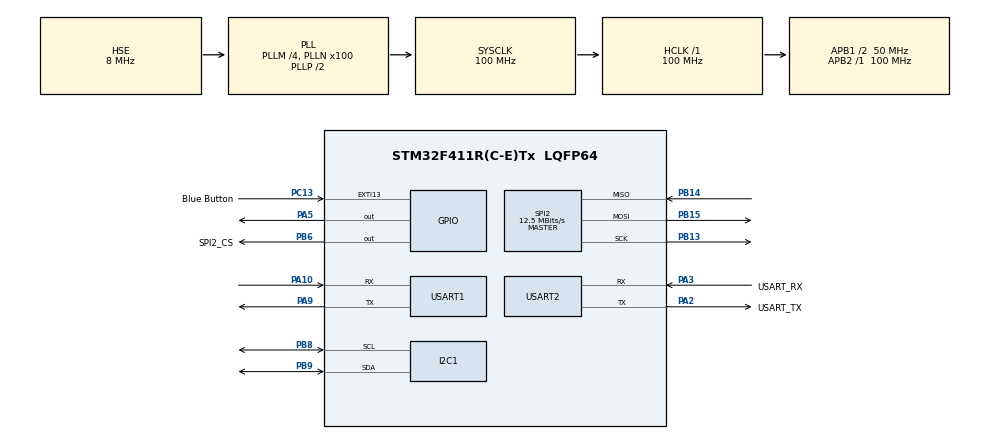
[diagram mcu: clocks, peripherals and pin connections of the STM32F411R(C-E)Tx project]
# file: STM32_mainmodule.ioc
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Dma.Request0=USART2_RX
Dma.Request1=USART2_TX
Dma.Request2=USART1_RX
Dma.Request3=USART1_TX
Dma.USART1_RX.2.Direction=DMA_PERIPH_TO_MEMORY
Dma.USART1_RX.2.FIFOMode=DMA_FIFOMODE_DISABLE
Dma.USART1_RX.2.Instance=DMA2_Stream2
Dma.USART1_RX.2.MemDataAlignment=DMA_MDATAALIGN_BYTE
Dma.USART1_RX.2.MemInc=DMA_MINC_ENABLE
Dma.USART1_RX.2.Mode=DMA_NORMAL
Dma.USART1_RX.2.PeriphDataAlignment=DMA_PDATAALIGN_BYTE
Dma.USART1_RX.2.PeriphInc=DMA_PINC_DISABLE
Dma.USART1_RX.2.Priority=DMA_PRIORITY_MEDIUM
Dma.USART1_TX.3.Direction=DMA_MEMORY_TO_PERIPH
Dma.USART1_TX.3.FIFOMode=DMA_FIFOMODE_DISABLE
Dma.USART1_TX.3.Instance=DMA2_Stream7
Dma.USART1_TX.3.MemDataAlignment=DMA_MDATAALIGN_BYTE
Dma.USART1_TX.3.MemInc=DMA_MINC_ENABLE
Dma.USART1_TX.3.Mode=DMA_NORMAL
Dma.USART1_TX.3.PeriphDataAlignment=DMA_PDATAALIGN_BYTE
Dma.USART1_TX.3.PeriphInc=DMA_PINC_DISABLE
Dma.USART1_TX.3.Priority=DMA_PRIORITY_MEDIUM
Dma.USART2_RX.0.Direction=DMA_PERIPH_TO_MEMORY
Dma.USART2_RX.0.FIFOMode=DMA_FIFOMODE_DISABLE
Dma.USART2_RX.0.Instance=DMA1_Stream5
Dma.USART2_RX.0.MemDataAlignment=DMA_MDATAALIGN_BYTE
Dma.USART2_RX.0.MemInc=DMA_MINC_ENABLE
Dma.USART2_RX.0.Mode=DMA_NORMAL
Dma.USART2_RX.0.PeriphDataAlignment=DMA_PDATAALIGN_BYTE
Dma.USART2_RX.0.PeriphInc=DMA_PINC_DISABLE
Dma.USART2_RX.0.Priority=DMA_PRIORITY_MEDIUM
Dma.USART2_TX.1.Direction=DMA_MEMORY_TO_PERIPH
Dma.USART2_TX.1.FIFOMode=DMA_FIFOMODE_DISABLE
Dma.USART2_TX.1.Instance=DMA1_Stream6
Dma.USART2_TX.1.MemDataAlignment=DMA_MDATAALIGN_BYTE
Dma.USART2_TX.1.MemInc=DMA_MINC_ENABLE
Dma.USART2_TX.1.Mode=DMA_NORMAL
Dma.USART2_TX.1.PeriphDataAlignment=DMA_PDATAALIGN_BYTE
Dma.USART2_TX.1.PeriphInc=DMA_PINC_DISABLE
Dma.USART2_TX.1.Priority=DMA_PRIORITY_MEDIUM
FATFS._FS_TINY=1
FATFS._MAX_SS=4096
FATFS._USE_LFN=1
Mcu.Family=STM32F4
Mcu.Name=STM32F411R(C-E)Tx
Mcu.Package=LQFP64
NVIC.DMA1_Stream5_IRQn=true\:0\:0\:false\:false\:true\:false\:true\:true
NVIC.DMA1_Stream6_IRQn=true\:0\:0\:false\:false\:true\:false\:true\:true
NVIC.DMA2_Stream2_IRQn=true\:0\:0\:false\:false\:true\:false\:true\:true
NVIC.DMA2_Stream7_IRQn=true\:0\:0\:false\:false\:true\:false\:true\:true
NVIC.EXTI15_10_IRQn=true\:0\:0\:false\:false\:true\:true\:true\:true
NVIC.PriorityGroup=NVIC_PRIORITYGROUP_0
NVIC.USART1_IRQn=true\:0\:0\:false\:false\:true\:true\:true\:true
NVIC.USART2_IRQn=true\:0\:0\:false\:false\:true\:true\:true\:true
PA10.Mode=Asynchronous
PA10.Signal=USART1_RX
PA13.GPIO_Label=TMS
PA13.Mode=Serial_Wire
PA13.Signal=SYS_JTMS-SWDIO
PA14.GPIO_Label=TCK
PA14.Mode=Serial_Wire
PA14.Signal=SYS_JTCK-SWCLK
PA2.GPIO_Label=USART_TX
PA2.Mode=Asynchronous
PA2.Signal=USART2_TX
PA3.GPIO_Label=USART_RX
PA3.Mode=Asynchronous
PA3.Signal=USART2_RX
PA5.Signal=GPIO_Output
PA9.Mode=Asynchronous
PA9.Signal=USART1_TX
PB13.GPIO_PuPd=GPIO_PULLUP
PB13.Mode=Full_Duplex_Master
PB13.Signal=SPI2_SCK
PB14.GPIO_PuPd=GPIO_PULLUP
PB14.Mode=Full_Duplex_Master
PB14.Signal=SPI2_MISO
PB15.GPIO_PuPd=GPIO_PULLUP
PB15.Mode=Full_Duplex_Master
PB15.Signal=SPI2_MOSI
PB3.GPIO_Label=SWO
PB3.Signal=SYS_JTDO-SWO
PB6.GPIO_Label=SPI2_CS
PB6.GPIO_PuPd=GPIO_PULLUP
PB6.GPIO_Speed=GPIO_SPEED_FREQ_HIGH
PB6.PinState=GPIO_PIN_SET
PB6.Signal=GPIO_Output
PB8.Mode=I2C
PB8.Signal=I2C1_SCL
PB9.Mode=I2C
PB9.Signal=I2C1_SDA
PC13-ANTI_TAMP.GPIO_Label=Blue Button
PC13-ANTI_TAMP.GPIO_ModeDefaultEXTI=GPIO_MODE_IT_FALLING
PC13-ANTI_TAMP.Signal=GPXTI13
PC14-OSC32_IN.Mode=LSE-External-Oscillator
PC14-OSC32_IN.Signal=RCC_OSC32_IN
PC15-OSC32_OUT.Mode=LSE-External-Oscillator
PC15-OSC32_OUT.Signal=RCC_OSC32_OUT
PH0\ -\ OSC_IN.Mode=HSE-External-Oscillator
PH0\ -\ OSC_IN.Signal=RCC_OSC_IN
PH1\ -\ OSC_OUT.Mode=HSE-External-Oscillator
PH1\ -\ OSC_OUT.Signal=RCC_OSC_OUT
ProjectManager.HeapSize=0x200
ProjectManager.StackSize=0x400
ProjectManager.TargetToolchain=STM32CubeIDE
RCC.48MHZClocksFreq_Value=50000000
RCC.AHBFreq_Value=100000000
RCC.APB1CLKDivider=RCC_HCLK_DIV2
RCC.APB1Freq_Value=50000000
RCC.APB1TimFreq_Value=100000000
RCC.APB2Freq_Value=100000000
RCC.APB2TimFreq_Value=100000000
RCC.CortexFreq_Value=100000000
RCC.FLatency-AdvancedSettings=FLASH_LATENCY_3
RCC.HCLKFreq_Value=100000000
RCC.HSE_VALUE=8000000
RCC.HSI_VALUE=16000000
RCC.PLLM=4
RCC.PLLN=100
RCC.PLLSourceVirtual=RCC_PLLSOURCE_HSE
RCC.RCC_RTC_Clock_Source=RCC_RTCCLKSOURCE_LSE
RCC.RCC_RTC_Clock_SourceVirtual=RCC_RTCCLKSOURCE_LSE
RCC.SYSCLKFreq_VALUE=100000000
RCC.SYSCLKSource=RCC_SYSCLKSOURCE_PLLCLK
RCC.VCOOutputFreq_Value=200000000
RTC.Date=10
RTC.Month=RTC_MONTH_JULY
RTC.WeekDay=RTC_WEEKDAY_FRIDAY
RTC.Year=26
SPI2.BaudRatePrescaler=SPI_BAUDRATEPRESCALER_4
SPI2.CalculateBaudRate=12.5 MBits/s
SPI2.Direction=SPI_DIRECTION_2LINES
SPI2.Mode=SPI_MODE_MASTER
SPI2.VirtualType=VM_MASTER
USART1.VirtualMode=VM_ASYNC
USART2.VirtualMode=VM_ASYNC
VP_FATFS_VS_Generic.Mode=User_defined
VP_RTC_VS_RTC_Activate.Mode=RTC_Enabled
VP_RTC_VS_RTC_Calendar.Mode=RTC_Calendar
board=NUCLEO-F411RE

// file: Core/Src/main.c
/* USER CODE BEGIN Header */
/**
  ******************************************************************************
  * @file           : main.c
  * @brief          : Main program body
  ******************************************************************************
  * @attention
  *
  * Copyright (c) 2026 STMicroelectronics.
  * All rights reserved.
  *
  * This software is licensed under terms that can be found in the LICENSE file
  * in the root directory of this software component.
  * If no LICENSE file comes with this software, it is provided AS-IS.
  *
  ******************************************************************************
  */
/* USER CODE END Header */
#include "main.h"
#include "dma.h"
#include "fatfs.h"
#include "i2c.h"
#include "rtc.h"
#include "spi.h"
#include "usart.h"
#include "gpio.h"

/* USER CODE BEGIN Includes */
#include <stdbool.h>
#include "stdio.h"
#include "string.h"
#include "LED.h"
#include "UARTCom.h"
#include "OLED.h"
#include "MPU6050.h"
#include "BME280.h"
#include "SDCard.h"
#include "util.h"
/* USER CODE END Includes */

/* USER CODE BEGIN PD */
#define MAXLEN 4096
#define MAXTEMPLEN 256
/* USER CODE END PD */

/* USER CODE BEGIN PV */
//SPI_HandleTypeDef hspi2;

uint8_t count = 0;
extern uint16_t timer;
extern int enable_timer;
extern uint16_t timer_ESP32;
extern int enable_timer_ESP32;

BME280_Data_t BME280;
MPU6050_Data_t MPU6050;
int start_y = 20;
int end_y = 0;
static char line_buffer[512];
static uint16_t line_idx = 0;
static uint32_t last_button_tick = 0;

typedef enum {
    STATE_STOPPED,
    STATE_START_REQUESTED,
    STATE_RUNNING,
    STATE_STOP_REQUESTED
} SystemState;

volatile SystemState state = STATE_STOPPED;

/* USER CODE END PV */

void SystemClock_Config(void);
/* USER CODE BEGIN PFP */
void I2C_ClearBus(void);
/* USER CODE END PFP */

/* USER CODE BEGIN 0 */
void logging(char *msg) {
  FILE *fptr;
  fptr = fopen("D:\\error_log.txt", "a+");
  if (fptr == NULL) {
    my_printf("ERROR: Could not open file.\n");
    return;
  }

  fprintf(fptr, "ERROR %s\n", msg);
  fclose(fptr);

}

int _write(int file, char *ptr, int len) {
	if (ptr == NULL || len <= 0) {
		return 0;
	}
	if (file != 1 && file != 2)
		return len;

	int i=0;
	for (i = 0; i < len; i++) {
		ITM_SendChar((*ptr++));
	}
	return len;
}

void I2C_Scanner(void) {
    HAL_StatusTypeDef result;
    uint8_t devices_found = 0;
    char temp_buffer[512];

    my_printf("\r\n--- Starting I2C Bus Scan ---\r\n");

    for (uint16_t i = 1; i < 128; i++) {
        /* * HAL_I2C_IsDeviceReady expects the left-shifted 8-bit address.
         * It tries to communicate with the device 3 times with a 5ms timeout.
         */
        result = HAL_I2C_IsDeviceReady(&hi2c1, (i << 1), 3, 5);

        if (result == HAL_OK) {
            sprintf(temp_buffer, "Device found at 7-bit address: 0x%02X (8-bit Addr: 0x%02X)\r\n", i, (i << 1));
            my_printf(temp_buffer);
            devices_found++;
        }
    }

    if (devices_found == 0) {
        my_printf("No I2C devices found. Check wiring, power, and pull-up resistors.\r\n");
    } else {
        sprintf(temp_buffer, "Scan complete. Found %d device(s).\r\n", devices_found);
        my_printf(temp_buffer);
    }
    my_printf("-----------------------------\r\n\r\n");
}

void HAL_GPIO_EXTI_Callback(uint16_t GPIO_Pin)
{
    if (GPIO_Pin == GPIO_PIN_13)
    {
    	//avoid counter edge bouncing
    	uint32_t now = HAL_GetTick();
    	if ((now - last_button_tick) < 500) {
    		return;
    	}
    	last_button_tick = now;

        if (state == STATE_STOPPED)
        {
            state = STATE_START_REQUESTED;
        }
        else if (state == STATE_RUNNING)
        {
            state = STATE_STOP_REQUESTED;
        }
    }
}
/* USER CODE END 0 */

int main(void)
{

  /* USER CODE BEGIN 1 */
	char buffer[1000];
  /* USER CODE END 1 */

  /* MCU Configuration--------------------------------------------------------*/

  /* Reset of all peripherals, Initializes the Flash interface and the Systick. */
  HAL_Init();

  /* Configure the system clock */
  SystemClock_Config();

  /* Initialize all configured peripherals */
  MX_GPIO_Init();
  MX_DMA_Init();
  MX_USART2_UART_Init();
  MX_I2C1_Init();
  MX_SPI2_Init();
  MX_FATFS_Init();
  MX_RTC_Init();
  MX_USART1_UART_Init();
  /* USER CODE BEGIN 2 */

  /*
  SDCard_write();
  SDCard_read();

  int val = SDCard_write_log("test start\n");
  if (val != 0) {
	  my_printf("SDCard_write_log ERROR\n");
  }
  my_printf("\n");
  */
  //RECEIVING VALUES
  //UARTCom_rx();
  /* USER CODE END 2 */

  /* Infinite loop */
  while (1)
  {

    /* USER CODE BEGIN 3 */
	switch (state)
	{
	  case STATE_STOPPED:
		  // wait for push button
		  break;

	  case STATE_START_REQUESTED:
		  // Mount SD
		  // Open file
		  //SD_Card_Test();
		  SDCard_init();
		  SDCard_open_log();
		  SDCard_open_csv();

		  I2C_ClearBus();
		  I2C_Scanner();

		  OLED_init();

		  LED_init();
		  UARTCom_init();
		  BME280_init();
		  MPU6050_init();
		  MPU6050_Calibrate(&MPU6050);
		  UARTCom_initESP32();
		  UARTCom_receivefromESP32();
		  state = STATE_RUNNING;
		  break;

	  case STATE_RUNNING:
		//make sure all transmitted values have \r\n endings
		sprintf(buffer, "Hello World count = %d, Timer = %d\r\n", count, timer);
		my_printf(buffer);

		//SENDING VALUES
		//UARTCom_tx((uint8_t*)buffer);

		//Timer for UART receive timeout
		if (timer >= 1000) {
		  //entire data has been received
		  timer = 0;
		  enable_timer = 0;
		}
		if (timer_ESP32 >= 1000) {
		  //entire data has been received
		  timer_ESP32 = 0;
		  enable_timer_ESP32 = 0;
		}

		LED_blink();
		 count++;

		 BME280_calculation(&BME280);
		 sprintf(buffer, "BME280: Temp: %.2f C, Pres: %.2f hPa, Humi: %.2f RH, Alti: %.2f m\n",
						BME280.Temperature, BME280.Pressure, BME280.Humidity, BME280.AltitudeP);
		 my_printf(buffer);
		 start_y = 20;
		 end_y = 0;
		 sprintf(buffer, "Temp: %.2f C\nPres: %.2f hPa\nHumi: %.2f RH\nAlti: %.2f m\n",
						BME280.Temperature, BME280.Pressure, BME280.Humidity, BME280.AltitudeP);
		 OLED_update(buffer, start_y, &end_y, 1);
		 start_y = end_y;

		 HAL_Delay(1000);

		 MPU6050_Read_All(&MPU6050);
		 sprintf(buffer, "MPU6050: Ax: %.2f g, Ay: %.2f g, Az: %.2f g, Gx: %.2f Deg/s, Gy: %.2f Deg/s, Gz: %.2f Deg/s\n",
						MPU6050.Ax , MPU6050.Ay, MPU6050.Az , MPU6050.Gx, MPU6050.Gy , MPU6050.Gz);
		 my_printf(buffer);
		 sprintf(buffer, "MPU6050: Roll: %.2f Deg, Pitch: %.2f Deg, KalmanX: %.2f Deg, KalmanY: %.2f Deg, State:%s\n",
						MPU6050.roll , MPU6050.pitch, MPU6050.KalmanAngleX, MPU6050.KalmanAngleY, MPU6050.state);
		my_printf(buffer);
		start_y = 20;
		end_y = 0;
		 sprintf(buffer, "Roll: %.2f Deg\nPitch: %.2f Deg\nState: %s\n",
						MPU6050.KalmanAngleX, MPU6050.KalmanAngleY, MPU6050.state);
		OLED_update(buffer, start_y, &end_y, 1);
		start_y = end_y;

		sprintf(buffer, "TEL,temp=%.2f,pres=%.2f,hum=%.2f,alti=%.2f,roll=%.2f,pitch=%.2f,state=%s\n",
				BME280.Temperature, BME280.Pressure, BME280.Humidity, BME280.AltitudeP, MPU6050.KalmanAngleX, MPU6050.KalmanAngleY, MPU6050.state);
		UARTCom_sendtoESP32(buffer);

		my_printf("\n");

		char CSVbuffer[1024];
		//Temperature, Pressure, Humidity, Alititude, Ax, Ay, Az, Gx, Gy, Gz, roll, pitch, KalmanX, KalmanY, state
		sprintf(CSVbuffer, "%.2f, %.2f, %.2f, %.2f, %.2f, %.2f, %.2f, %.2f, %.2f, %.2f, %.2f, %.2f, %.2f, %.2f, %s",
				BME280.Temperature, BME280.Pressure, BME280.Humidity, BME280.AltitudeP,
				MPU6050.Ax , MPU6050.Ay, MPU6050.Az , MPU6050.Gx, MPU6050.Gy , MPU6050.Gz,
				MPU6050.roll , MPU6050.pitch, MPU6050.KalmanAngleX, MPU6050.KalmanAngleY, MPU6050.state);

		SDCard_append_csv(CSVbuffer);

		HAL_Delay(1000); //500ms delay minimum for current transmit value
		break;

	  case STATE_STOP_REQUESTED:
		  // Close file
		  // Unmount SD
		  //for testing
		  LED_close();
		  BME280_close();
		  MPU6050_close();
		  UARTCom_close();
		  UARTCom_closeESP32();
		  OLED_close();
		  SDCard_close_log();
		  SDCard_close_csv();
		  state = STATE_STOPPED;
		  break;
	}
  }
  /* USER CODE END 3 */
}

void SystemClock_Config(void)
{
  RCC_OscInitTypeDef RCC_OscInitStruct = {0};
  RCC_ClkInitTypeDef RCC_ClkInitStruct = {0};

  /** Configure the main internal regulator output voltage
  */
  __HAL_RCC_PWR_CLK_ENABLE();
  __HAL_PWR_VOLTAGESCALING_CONFIG(PWR_REGULATOR_VOLTAGE_SCALE1);

  /** Initializes the RCC Oscillators according to the specified parameters
  * in the RCC_OscInitTypeDef structure.
  */
  RCC_OscInitStruct.OscillatorType = RCC_OSCILLATORTYPE_HSE|RCC_OSCILLATORTYPE_LSE;
  RCC_OscInitStruct.HSEState = RCC_HSE_ON;
  RCC_OscInitStruct.LSEState = RCC_LSE_ON;
  RCC_OscInitStruct.PLL.PLLState = RCC_PLL_ON;
  RCC_OscInitStruct.PLL.PLLSource = RCC_PLLSOURCE_HSE;
  RCC_OscInitStruct.PLL.PLLM = 4;
  RCC_OscInitStruct.PLL.PLLN = 100;
  RCC_OscInitStruct.PLL.PLLP = RCC_PLLP_DIV2;
  RCC_OscInitStruct.PLL.PLLQ = 4;
  if (HAL_RCC_OscConfig(&RCC_OscInitStruct) != HAL_OK)
  {
    Error_Handler();
  }

  /** Initializes the CPU, AHB and APB buses clocks
  */
  RCC_ClkInitStruct.ClockType = RCC_CLOCKTYPE_HCLK|RCC_CLOCKTYPE_SYSCLK
                              |RCC_CLOCKTYPE_PCLK1|RCC_CLOCKTYPE_PCLK2;
  RCC_ClkInitStruct.SYSCLKSource = RCC_SYSCLKSOURCE_PLLCLK;
  RCC_ClkInitStruct.AHBCLKDivider = RCC_SYSCLK_DIV1;
  RCC_ClkInitStruct.APB1CLKDivider = RCC_HCLK_DIV2;
  RCC_ClkInitStruct.APB2CLKDivider = RCC_HCLK_DIV1;

  if (HAL_RCC_ClockConfig(&RCC_ClkInitStruct, FLASH_LATENCY_3) != HAL_OK)
  {
    Error_Handler();
  }
}

/* USER CODE BEGIN 4 */

void I2C_ClearBus(void) {
    HAL_GPIO_WritePin(GPIOB, GPIO_PIN_9, GPIO_PIN_SET);  // SDA
    HAL_GPIO_WritePin(GPIOB, GPIO_PIN_8, GPIO_PIN_SET);  // SCL
    for(uint8_t i = 0; i < 9; i++) {
        HAL_GPIO_TogglePin(GPIOB, GPIO_PIN_8);
        HAL_Delay(1);
    }
    //STOP
    HAL_GPIO_WritePin(GPIOB, GPIO_PIN_9, GPIO_PIN_RESET);
    HAL_GPIO_WritePin(GPIOB, GPIO_PIN_8, GPIO_PIN_RESET);
    HAL_Delay(1);
    HAL_GPIO_WritePin(GPIOB, GPIO_PIN_9, GPIO_PIN_SET);
    HAL_GPIO_WritePin(GPIOB, GPIO_PIN_8, GPIO_PIN_SET);
}

/* USER CODE END 4 */

void Error_Handler(void)
{
  __disable_irq();
  while (1)
  {
  }
}
